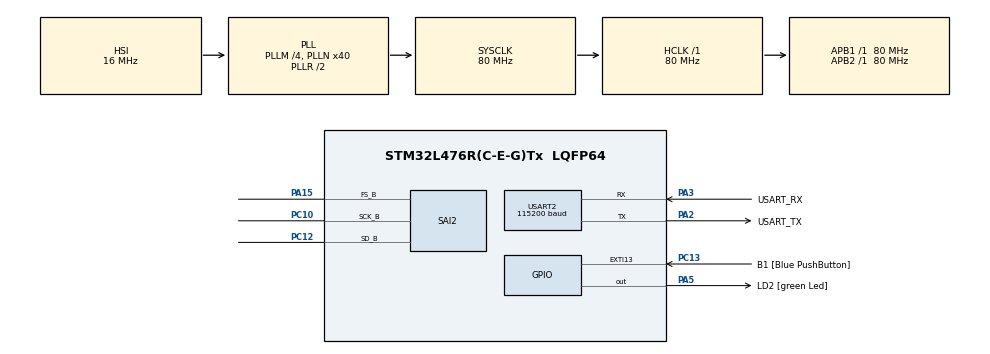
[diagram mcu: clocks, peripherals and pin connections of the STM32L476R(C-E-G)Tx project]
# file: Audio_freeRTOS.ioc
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Dma.Request0=SAI2_B
Dma.SAI2_B.0.Direction=DMA_MEMORY_TO_PERIPH
Dma.SAI2_B.0.Instance=DMA1_Channel7
Dma.SAI2_B.0.MemDataAlignment=DMA_MDATAALIGN_HALFWORD
Dma.SAI2_B.0.MemInc=DMA_MINC_ENABLE
Dma.SAI2_B.0.Mode=DMA_CIRCULAR
Dma.SAI2_B.0.PeriphDataAlignment=DMA_PDATAALIGN_HALFWORD
Dma.SAI2_B.0.PeriphInc=DMA_PINC_DISABLE
Dma.SAI2_B.0.Priority=DMA_PRIORITY_LOW
FREERTOS.Queues01=UARTQueue,16,UARTMessage_t,0,Dynamic,NULL,NULL
FREERTOS.Tasks01=SineWaveTask,24,256,StartSineWaveTask,Default,NULL,Dynamic,NULL,NULL;StartBackground,8,128,StartBackgroundTask,Default,NULL,Dynamic,NULL,NULL;ChirpWaveTask,24,256,StartChirpWaveTask,Default,NULL,Dynamic,NULL,NULL;UARTTask,16,256,StartUARTTask,Default,NULL,Dynamic,NULL,NULL;InputTask,16,512,StartInputTask,Default,NULL,Dynamic,NULL,NULL
FREERTOS.configENABLE_FPU=1
FREERTOS.configTOTAL_HEAP_SIZE=20000
FREERTOS.configUSE_NEWLIB_REENTRANT=1
Mcu.Family=STM32L4
Mcu.Name=STM32L476R(C-E-G)Tx
Mcu.Package=LQFP64
NVIC.DMA1_Channel7_IRQn=true\:5\:0\:false\:false\:true\:true\:false\:true\:true
NVIC.PriorityGroup=NVIC_PRIORITYGROUP_4
NVIC.TIM6_DAC_IRQn=true\:15\:0\:false\:false\:true\:false\:false\:true\:true
NVIC.TimeBase=TIM6_DAC_IRQn
NVIC.TimeBaseIP=TIM6
NVIC.USART2_IRQn=true\:6\:0\:true\:false\:true\:true\:true\:true\:true
PA13\ (JTMS-SWDIO).GPIO_Label=TMS
PA13\ (JTMS-SWDIO).Mode=Serial_Wire
PA13\ (JTMS-SWDIO).Signal=SYS_JTMS-SWDIO
PA14\ (JTCK-SWCLK).GPIO_Label=TCK
PA14\ (JTCK-SWCLK).Mode=Serial_Wire
PA14\ (JTCK-SWCLK).Signal=SYS_JTCK-SWCLK
PA15\ (JTDI).Mode=SAI_B_Master
PA15\ (JTDI).Signal=SAI2_FS_B
PA2.GPIO_Label=USART_TX
PA2.GPIO_Mode=GPIO_MODE_AF_PP
PA2.GPIO_PuPd=GPIO_NOPULL
PA2.GPIO_Speed=GPIO_SPEED_FREQ_VERY_HIGH
PA2.Mode=Asynchronous
PA2.Signal=USART2_TX
PA3.GPIO_Label=USART_RX
PA3.GPIO_Mode=GPIO_MODE_AF_PP
PA3.GPIO_PuPd=GPIO_NOPULL
PA3.GPIO_Speed=GPIO_SPEED_FREQ_VERY_HIGH
PA3.Mode=Asynchronous
PA3.Signal=USART2_RX
PA5.GPIO_Label=LD2 [green Led]
PA5.GPIO_ModeDefaultOutputPP=GPIO_MODE_OUTPUT_PP
PA5.GPIO_PuPd=GPIO_NOPULL
PA5.GPIO_Speed=GPIO_SPEED_FREQ_LOW
PA5.Signal=GPIO_Output
PB3\ (JTDO-TRACESWO).GPIO_Label=SWO
PB3\ (JTDO-TRACESWO).Signal=SYS_JTDO-SWO
PC10.Mode=SAI_B_Master
PC10.Signal=SAI2_SCK_B
PC12.Mode=SAI_B_Master
PC12.Signal=SAI2_SD_B
PC13.GPIO_Label=B1 [Blue PushButton]
PC13.GPIO_ModeDefaultEXTI=GPIO_MODE_IT_FALLING
PC13.GPIO_PuPd=GPIO_NOPULL
PC13.Signal=GPXTI13
PC14-OSC32_IN\ (PC14).Mode=LSE-External-Oscillator
PC14-OSC32_IN\ (PC14).Signal=RCC_OSC32_IN
PC15-OSC32_OUT\ (PC15).Mode=LSE-External-Oscillator
PC15-OSC32_OUT\ (PC15).Signal=RCC_OSC32_OUT
PH0-OSC_IN\ (PH0).Mode=HSE-External-Clock-Source
PH0-OSC_IN\ (PH0).Signal=RCC_OSC_IN
PH1-OSC_OUT\ (PH1).Signal=RCC_OSC_OUT
ProjectManager.HeapSize=0x200
ProjectManager.StackSize=0x400
ProjectManager.TargetToolchain=STM32CubeIDE
RCC.ADCFreq_Value=86000000
RCC.AHBFreq_Value=80000000
RCC.APB1Freq_Value=80000000
RCC.APB1TimFreq_Value=80000000
RCC.APB2Freq_Value=80000000
RCC.APB2TimFreq_Value=80000000
RCC.CortexFreq_Value=80000000
RCC.HCLKFreq_Value=80000000
RCC.HSE_VALUE=8000000
RCC.HSI_VALUE=16000000
RCC.MSI_VALUE=4000000
RCC.PLLM=4
RCC.PLLN=40
RCC.PLLSAI1N=43
RCC.PLLSAI2N=43
RCC.PLLSourceVirtual=RCC_PLLSOURCE_HSI
RCC.SYSCLKFreq_VALUE=80000000
RCC.SYSCLKSource=RCC_SYSCLKSOURCE_PLLCLK
RCC.USBFreq_Value=86000000
RCC.VCOOutputFreq_Value=160000000
SAI2.AudioFrequency-SAI_B_Master=SAI_AUDIO_FREQUENCY_48K
SAI2.ErrorAudioFreq-SAI_B_Master=-0.01 %
SAI2.InitProtocol-SAI_B_Master=Enable
SAI2.Instance-SAI_B_Master=SAI$Index_Block_B
SAI2.MClockEnable-SAI_B_Master=SAI_MASTERCLOCK_DISABLE
SAI2.MonoStereoMode-SAI_B_Master=SAI_STEREOMODE
SAI2.OutputDrive-SAI_B_Master=SAI_OUTPUTDRIVE_ENABLE
SAI2.RealAudioFreq-SAI_B_Master=47.991 KHz
SAI2.VirtualMode-SAI_B_Master=VM_MASTER
SAI2.VirtualProtocol-SAI_B_BASIC=VM_BASIC_PROTOCOL
USART2.BaudRate=115200
USART2.VirtualMode-Asynchronous=VM_ASYNC
VP_FREERTOS_VS_CMSIS_V2.Mode=CMSIS_V2
VP_SAI2_VP_$IpInstance_SAIB_SAI_BASIC.Mode=SAI_B_BASIC
VP_SYS_VS_tim6.Mode=TIM6
board=NUCLEO-L476RG

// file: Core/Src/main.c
/* USER CODE BEGIN Header */
/**
  ******************************************************************************
  * @file           : main.c
  * @brief          : Sine wave output — 1 kHz, amplitude 1000, via SAI2+DMA
  *                   Hardware: STM32 NUCLEO-L476RG + MAX98357 I2S Amplifier
  ******************************************************************************
  */
/* USER CODE END Header */
#include "main.h"
#include "cmsis_os.h"

/* USER CODE BEGIN Includes */
#include <stdio.h>
#include <string.h>
#include <ctype.h>

#define MAX_MESSAGE_LEN 100
typedef char UARTMessage_t[MAX_MESSAGE_LEN];

/* USER CODE END Includes */

SAI_HandleTypeDef hsai_BlockB2;
DMA_HandleTypeDef hdma_sai2_b;

UART_HandleTypeDef huart2;

/* Definitions for SineWaveTask */
osThreadId_t SineWaveTaskHandle;
const osThreadAttr_t SineWaveTask_attributes = {
  .name = "SineWaveTask",
  .stack_size = 256 * 4,
  .priority = (osPriority_t) osPriorityNormal,
};
/* Definitions for StartBackground */
osThreadId_t StartBackgroundHandle;
const osThreadAttr_t StartBackground_attributes = {
  .name = "StartBackground",
  .stack_size = 128 * 4,
  .priority = (osPriority_t) osPriorityLow,
};
/* Definitions for ChirpWaveTask */
osThreadId_t ChirpWaveTaskHandle;
const osThreadAttr_t ChirpWaveTask_attributes = {
  .name = "ChirpWaveTask",
  .stack_size = 256 * 4,
  .priority = (osPriority_t) osPriorityNormal,
};
/* Definitions for UARTTask */
osThreadId_t UARTTaskHandle;
const osThreadAttr_t UARTTask_attributes = {
  .name = "UARTTask",
  .stack_size = 256 * 4,
  .priority = (osPriority_t) osPriorityBelowNormal,
};
/* Definitions for InputTask */
osThreadId_t InputTaskHandle;
const osThreadAttr_t InputTask_attributes = {
  .name = "InputTask",
  .stack_size = 512 * 4,
  .priority = (osPriority_t) osPriorityBelowNormal,
};
/* Definitions for UARTQueue */
osMessageQueueId_t UARTQueueHandle;
const osMessageQueueAttr_t UARTQueue_attributes = {
  .name = "UARTQueue"
};

void SystemClock_Config(void);
static void MX_GPIO_Init(void);
static void MX_DMA_Init(void);
static void MX_USART2_UART_Init(void);
static void MX_SAI2_Init(void);
void StartSineWaveTask(void *argument);
void StartBackgroundTask(void *argument);
void StartChirpWaveTask(void *argument);
void StartUARTTask(void *argument);
void StartInputTask(void *argument);

/* USER CODE BEGIN PFP */
void GetUI(void);
void UART_Send(const char *text);
void GenerateSineWave(int SINE_FREQ, int AMPLITUDE);
void GenerateChirpWave(int startFreq, int endFreq, int amplitude);
uint8_t UI_ReadChar(char *c);

#define FLAG_NEW_SINE  0x1
#define FLAG_CHIRP     0x1

/* Settings typed by the user, read by the wave tasks */
volatile int sineFrequency  = 1000;
volatile int sineAmplitude  = 1000;
volatile int chirpStart     = 300;
volatile int chirpEnd       = 20000;
volatile int chirpAmplitude = 1000;

/* Characters received by the USART2 interrupt, waiting for InputTask */
osMessageQueueId_t RxQueueHandle;
uint8_t rxByte;
/* USER CODE END PFP */

/* USER CODE BEGIN 0 */

#include <math.h>
#include <stdint.h>
#include <string.h>
#include <stdio.h>
#include <stdlib.h>

#define SAMPLE_RATE    48000
//#define SINE_FREQ      10000
//#define AMPLITUDE      2000
#define FRAMES   12000  //256

volatile float background_result = 0.0f;
volatile uint32_t background_complexity = 10;
volatile uint32_t background_counter = 0;

int16_t audioBuffer[FRAMES * 2];

/* Queue text for UARTTask to print */
void UART_Send(const char *text)
{
    UARTMessage_t msg;
    strncpy(msg, text, MAX_MESSAGE_LEN - 1);
    msg[MAX_MESSAGE_LEN - 1] = '\0';
    osMessageQueuePut(UARTQueueHandle, &msg, 0, osWaitForever);
}

static int Clamp(int value, int min, int max)
{
    if (value < min) return min;
    if (value > max) return max;
    return value;
}

/* Called repeatedly by InputTask. 'static' keeps the line between calls. */
void GetUI(void)
{
    static char rxBuffer[32];
    static int rxIndex = 0;
    char rxChar;
    char msg[MAX_MESSAGE_LEN];
    int a, b, c;

    if (!UI_ReadChar(&rxChar))
        return;

    char echo[2] = { rxChar, '\0' };
    UART_Send(echo);

    /* Still typing: store the character */
    if (rxChar != '\r' && rxChar != '\n')
    {
        if (rxIndex < (int)sizeof(rxBuffer) - 1)
            rxBuffer[rxIndex++] = rxChar;
        return;
    }

    /* Enter pressed: process the line */
    rxBuffer[rxIndex] = '\0';
    rxIndex = 0;

    if (rxBuffer[0] == '\0')                  /* empty line, e.g. LF after CR */
        return;

    if (rxBuffer[0] == 'c')                   /* c <start> <end> <amp> */
    {
        a = chirpStart;  b = chirpEnd;  c = chirpAmplitude;
        sscanf(rxBuffer + 1, "%d %d %d", &a, &b, &c);

        chirpStart     = Clamp(a, 200, 20000);
        chirpEnd       = Clamp(b, 200, 20000);
        chirpAmplitude = Clamp(c, 0, 30000);

        osThreadFlagsSet(ChirpWaveTaskHandle, FLAG_CHIRP);
        snprintf(msg, sizeof(msg), "\r\nChirp %d -> %d Hz, Amp %d\r\n",
                 chirpStart, chirpEnd, chirpAmplitude);
    }
    else if (rxBuffer[0] == 's' || isdigit((unsigned char)rxBuffer[0]))
    {                                         /* s <freq> <amp>, or just <freq> <amp> */
        const char *args = (rxBuffer[0] == 's') ? rxBuffer + 1 : rxBuffer;
        a = sineFrequency;  b = sineAmplitude;
        sscanf(args, "%d %d", &a, &b);

        sineFrequency = Clamp(a, 200, 20000);
        sineAmplitude = Clamp(b, 0, 30000);

        osThreadFlagsSet(SineWaveTaskHandle, FLAG_NEW_SINE);
        snprintf(msg, sizeof(msg), "\r\nSine %d Hz, Amp %d\r\n",
                 sineFrequency, sineAmplitude);
    }
    else
    {
        snprintf(msg, sizeof(msg),
                 "\r\nUse: s <freq> <amp>   or   c <start> <end> <amp>\r\n");
    }

    UART_Send(msg);
}

/* Generate 1 kHz sine wave */
void GenerateSineWave(int SINE_FREQ, int AMPLITUDE)
{
    for (int i = 0; i < FRAMES; i++)
    {
        float phase = (2.0f * M_PI * SINE_FREQ * i) / SAMPLE_RATE;
        int16_t sample = (int16_t)(AMPLITUDE*sinf(phase));

        audioBuffer[2*i] = sample;
        audioBuffer[2*i+1] = sample;
    }
}

void GenerateChirpWave(int startFreq,
                       int endFreq,
                       int amplitude)
{
    float phase = 0.0f;

    for (int i = 0; i < FRAMES; i++)
    {
        /* Sweep position from 0.0 to 1.0 */
        float t = (float)i / (float)FRAMES;

        /* Linear frequency sweep */
        float freq = startFreq +
                     ((endFreq - startFreq) * t);

        /* Phase increment */
        phase += 2.0f * M_PI * freq / SAMPLE_RATE;

        /* Wrap phase */
        if (phase > 2.0f * M_PI)
            phase -= 2.0f * M_PI;

        int16_t sample =
            (int16_t)(amplitude * sinf(phase));

        /* Stereo output */
        audioBuffer[2 * i]     = sample;
        audioBuffer[2 * i + 1] = sample;
    }
}

/* Wait for the next received character. The USART2 interrupt puts every byte
 * into RxQueue, so none are lost even when a whole line arrives at once. */
uint8_t UI_ReadChar(char *c)
{
    uint8_t byte;

    if (osMessageQueueGet(RxQueueHandle, &byte, NULL, osWaitForever) != osOK)
        return 0;

    *c = (char)byte;
    return 1;
}

/* USER CODE END 0 */

int main(void)
{

  /* MCU Configuration--------------------------------------------------------*/

  /* Reset of all peripherals, Initializes the Flash interface and the Systick. */
  HAL_Init();

  /* Configure the system clock */
  SystemClock_Config();

  /* Initialize all configured peripherals */
  MX_GPIO_Init();
  MX_DMA_Init();
  MX_USART2_UART_Init();
  MX_SAI2_Init();
  /* USER CODE BEGIN 2 */

  /* Play the default chirp until the user types a command */
  GenerateChirpWave(chirpStart, chirpEnd, chirpAmplitude);

  /* Start continuous DMA transmission */
  HAL_SAI_Transmit_DMA(&hsai_BlockB2,
                       (uint8_t*)audioBuffer,
                       FRAMES * 2);

  /* USER CODE END 2 */

  /* Init scheduler */
  osKernelInitialize();

  /* Create the queue(s) */
  /* creation of UARTQueue */
  UARTQueueHandle = osMessageQueueNew (16, sizeof(UARTMessage_t), &UARTQueue_attributes);

  /* USER CODE BEGIN RTOS_QUEUES */
  RxQueueHandle = osMessageQueueNew(64, sizeof(uint8_t), NULL);
  /* USER CODE END RTOS_QUEUES */

  /* Create the thread(s) */
  /* creation of SineWaveTask */
  SineWaveTaskHandle = osThreadNew(StartSineWaveTask, NULL, &SineWaveTask_attributes);

  /* creation of StartBackground */
  StartBackgroundHandle = osThreadNew(StartBackgroundTask, NULL, &StartBackground_attributes);

  /* creation of ChirpWaveTask */
  ChirpWaveTaskHandle = osThreadNew(StartChirpWaveTask, NULL, &ChirpWaveTask_attributes);

  /* creation of UARTTask */
  UARTTaskHandle = osThreadNew(StartUARTTask, NULL, &UARTTask_attributes);

  /* creation of InputTask */
  InputTaskHandle = osThreadNew(StartInputTask, NULL, &InputTask_attributes);

  /* Start scheduler */
  osKernelStart();

  /* We should never get here as control is now taken by the scheduler */

  /* Infinite loop */
  while (1)
  {

  }
}

void SystemClock_Config(void)
{
  RCC_OscInitTypeDef RCC_OscInitStruct = {0};
  RCC_ClkInitTypeDef RCC_ClkInitStruct = {0};

  /** Configure the main internal regulator output voltage
  */
  if (HAL_PWREx_ControlVoltageScaling(PWR_REGULATOR_VOLTAGE_SCALE1) != HAL_OK)
  {
    Error_Handler();
  }

  /** Initializes the RCC Oscillators according to the specified parameters
  * in the RCC_OscInitTypeDef structure.
  */
  RCC_OscInitStruct.OscillatorType = RCC_OSCILLATORTYPE_HSI;
  RCC_OscInitStruct.HSIState = RCC_HSI_ON;
  RCC_OscInitStruct.HSICalibrationValue = RCC_HSICALIBRATION_DEFAULT;
  RCC_OscInitStruct.PLL.PLLState = RCC_PLL_ON;
  RCC_OscInitStruct.PLL.PLLSource = RCC_PLLSOURCE_HSI;
  RCC_OscInitStruct.PLL.PLLM = 4;
  RCC_OscInitStruct.PLL.PLLN = 40;
  RCC_OscInitStruct.PLL.PLLP = RCC_PLLP_DIV7;
  RCC_OscInitStruct.PLL.PLLQ = RCC_PLLQ_DIV2;
  RCC_OscInitStruct.PLL.PLLR = RCC_PLLR_DIV2;
  if (HAL_RCC_OscConfig(&RCC_OscInitStruct) != HAL_OK)
  {
    Error_Handler();
  }

  /** Initializes the CPU, AHB and APB buses clocks
  */
  RCC_ClkInitStruct.ClockType = RCC_CLOCKTYPE_HCLK|RCC_CLOCKTYPE_SYSCLK
                              |RCC_CLOCKTYPE_PCLK1|RCC_CLOCKTYPE_PCLK2;
  RCC_ClkInitStruct.SYSCLKSource = RCC_SYSCLKSOURCE_PLLCLK;
  RCC_ClkInitStruct.AHBCLKDivider = RCC_SYSCLK_DIV1;
  RCC_ClkInitStruct.APB1CLKDivider = RCC_HCLK_DIV1;
  RCC_ClkInitStruct.APB2CLKDivider = RCC_HCLK_DIV1;

  if (HAL_RCC_ClockConfig(&RCC_ClkInitStruct, FLASH_LATENCY_4) != HAL_OK)
  {
    Error_Handler();
  }
}

static void MX_SAI2_Init(void)
{

  hsai_BlockB2.Instance = SAI2_Block_B;
  hsai_BlockB2.Init.AudioMode = SAI_MODEMASTER_TX;
  hsai_BlockB2.Init.Synchro = SAI_ASYNCHRONOUS;
  hsai_BlockB2.Init.OutputDrive = SAI_OUTPUTDRIVE_ENABLE;
  hsai_BlockB2.Init.NoDivider = SAI_MASTERDIVIDER_ENABLE;
  hsai_BlockB2.Init.FIFOThreshold = SAI_FIFOTHRESHOLD_EMPTY;
  hsai_BlockB2.Init.AudioFrequency = SAI_AUDIO_FREQUENCY_48K;
  hsai_BlockB2.Init.SynchroExt = SAI_SYNCEXT_DISABLE;
  hsai_BlockB2.Init.MonoStereoMode = SAI_STEREOMODE;
  hsai_BlockB2.Init.CompandingMode = SAI_NOCOMPANDING;
  hsai_BlockB2.Init.TriState = SAI_OUTPUT_NOTRELEASED;
  if (HAL_SAI_InitProtocol(&hsai_BlockB2, SAI_I2S_STANDARD, SAI_PROTOCOL_DATASIZE_16BIT, 2) != HAL_OK)
  {
    Error_Handler();
  }

}

static void MX_USART2_UART_Init(void)
{

  huart2.Instance = USART2;
  huart2.Init.BaudRate = 115200;
  huart2.Init.WordLength = UART_WORDLENGTH_8B;
  huart2.Init.StopBits = UART_STOPBITS_1;
  huart2.Init.Parity = UART_PARITY_NONE;
  huart2.Init.Mode = UART_MODE_TX_RX;
  huart2.Init.HwFlowCtl = UART_HWCONTROL_NONE;
  huart2.Init.OverSampling = UART_OVERSAMPLING_16;
  huart2.Init.OneBitSampling = UART_ONE_BIT_SAMPLE_DISABLE;
  huart2.AdvancedInit.AdvFeatureInit = UART_ADVFEATURE_NO_INIT;
  if (HAL_UART_Init(&huart2) != HAL_OK)
  {
    Error_Handler();
  }

}

static void MX_DMA_Init(void)
{

  /* DMA controller clock enable */
  __HAL_RCC_DMA1_CLK_ENABLE();

  /* DMA interrupt init */
  /* DMA1_Channel7_IRQn interrupt configuration */
  HAL_NVIC_SetPriority(DMA1_Channel7_IRQn, 5, 0);
  HAL_NVIC_EnableIRQ(DMA1_Channel7_IRQn);

}

static void MX_GPIO_Init(void)
{
  GPIO_InitTypeDef GPIO_InitStruct = {0};

  /* GPIO Ports Clock Enable */
  __HAL_RCC_GPIOC_CLK_ENABLE();
  __HAL_RCC_GPIOH_CLK_ENABLE();
  __HAL_RCC_GPIOA_CLK_ENABLE();
  __HAL_RCC_GPIOB_CLK_ENABLE();

  /*Configure GPIO pin Output Level */
  HAL_GPIO_WritePin(LD2_GPIO_Port, LD2_Pin, GPIO_PIN_RESET);

  /*Configure GPIO pin : B1_Pin */
  GPIO_InitStruct.Pin = B1_Pin;
  GPIO_InitStruct.Mode = GPIO_MODE_IT_FALLING;
  GPIO_InitStruct.Pull = GPIO_NOPULL;
  HAL_GPIO_Init(B1_GPIO_Port, &GPIO_InitStruct);

  /*Configure GPIO pin : LD2_Pin */
  GPIO_InitStruct.Pin = LD2_Pin;
  GPIO_InitStruct.Mode = GPIO_MODE_OUTPUT_PP;
  GPIO_InitStruct.Pull = GPIO_NOPULL;
  GPIO_InitStruct.Speed = GPIO_SPEED_FREQ_LOW;
  HAL_GPIO_Init(LD2_GPIO_Port, &GPIO_InitStruct);

}

/* USER CODE BEGIN 4 */
/* USART2 received one byte: queue it for InputTask, then listen for the next */
void HAL_UART_RxCpltCallback(UART_HandleTypeDef *huart)
{
    if (huart == &huart2)
    {
        osMessageQueuePut(RxQueueHandle, &rxByte, 0, 0);
        HAL_UART_Receive_IT(&huart2, &rxByte, 1);
    }
}

/* An overrun or framing error stops reception: restart it */
void HAL_UART_ErrorCallback(UART_HandleTypeDef *huart)
{
    if (huart == &huart2)
    {
        HAL_UART_Receive_IT(&huart2, &rxByte, 1);
    }
}
/* USER CODE END 4 */

void StartSineWaveTask(void *argument)
{
  /* USER CODE BEGIN 5 */
	/* Infinite loop */
	/* StartSineWaveTask: sleep until GetUI() sends new settings */
	for(;;)
	{
		osThreadFlagsWait(FLAG_NEW_SINE, osFlagsWaitAny, osWaitForever);
		GenerateSineWave(sineFrequency, sineAmplitude);
	}
  /* USER CODE END 5 */
}

void StartBackgroundTask(void *argument)
{
  /* USER CODE BEGIN StartBackgroundTask */

    for (;;)
    {
        float result = 0.0f;

        /*
         * Increasing workload:
         *
         * result = sum from i=1 to N of:
         *          (i^2 + 3i + 7) / (i + 1)
         *
         * N increases every cycle.
         */

        for (uint32_t i = 1; i <= background_complexity; i++)
        {
            float x = (float)i;

            result += ((x*x) + (3.0f*x) + 7.0f)/ (x + 1.0f);
        }

        background_result = result;

        background_counter++;

        background_complexity += 10;

        // Stop N growing forever
        if (background_complexity > 1000)
        {
            background_complexity = 10;
        }

    }

  /* USER CODE END StartBackgroundTask */
}

void StartChirpWaveTask(void *argument)
{
  /* USER CODE BEGIN StartChirpWaveTask */
  /* Sleep until GetUI() sends new chirp settings */
  for(;;)
  {
    osThreadFlagsWait(FLAG_CHIRP, osFlagsWaitAny, osWaitForever);
    GenerateChirpWave(chirpStart, chirpEnd, chirpAmplitude);
  }
  /* USER CODE END StartChirpWaveTask */
}

void StartUARTTask(void *argument)
{
  /* USER CODE BEGIN StartUARTTask */
  /* The only task that writes to the UART: print whatever is queued */
  static UARTMessage_t msg;
  for(;;)
  {
    osMessageQueueGet(UARTQueueHandle, &msg, NULL, osWaitForever);
    HAL_UART_Transmit(&huart2, (uint8_t *)msg, strlen(msg), HAL_MAX_DELAY);
  }
  /* USER CODE END StartUARTTask */
}

void StartInputTask(void *argument)
{
  /* USER CODE BEGIN StartInputTask */
  /* The only task that reads the UART */
  HAL_UART_Receive_IT(&huart2, &rxByte, 1);   /* start interrupt-driven receive */
  UART_Send("\r\nCommands: s <freq> <amp>   c <start> <end> <amp>\r\n");
  for(;;)
  {
    GetUI();   /* blocks until a character arrives */
  }
  /* USER CODE END StartInputTask */
}

void HAL_TIM_PeriodElapsedCallback(TIM_HandleTypeDef *htim)
{
  if (htim->Instance == TIM6)
  {
    HAL_IncTick();
  }
}

void Error_Handler(void)
{
  __disable_irq();
  while (1)
  {
  }
}
